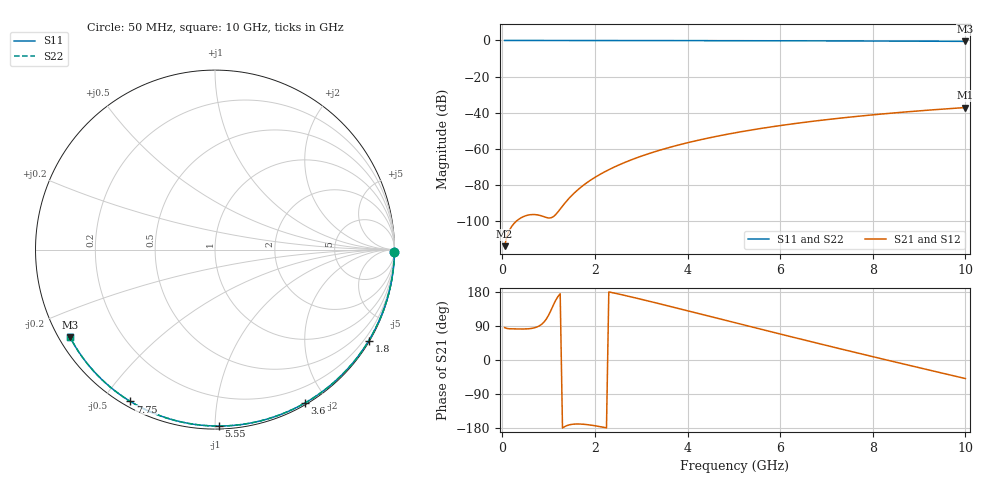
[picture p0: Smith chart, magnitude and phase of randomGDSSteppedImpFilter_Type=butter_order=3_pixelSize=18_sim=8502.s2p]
! freq	dB(S11)	phase(S11)	dB(S12)	phase(S12)
!  dB(S21)	phase(S21)	dB(S22)	phase(S22)
!S-par simulation data
#  GHz  S  DB  R 50
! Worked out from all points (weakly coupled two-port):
!   200 points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, 50 MHz to 10 GHz, reference 50 ohm
!   highest |S21| = -37.18 dB at 10 GHz (marker M1); lowest = -114.0 dB at 50 MHz (marker M2)
!   lowest |S11| = -0.5 dB at 10 GHz (marker M3), VSWR 34.44, Z = 1.56 - j13.9 ohm
!   |S11| at or under -10 dB: nowhere
!   |S22| runs from -0.5 to 0.0 dB; largest |S21 - S12| = 0
!   S11 on the Smith chart (normalised r, x): 50 MHz: open; 1.8 GHz: 0.03, -3.65; 3.6 GHz: 0.02, -1.74; 5.55 GHz: 0.02, -1.02; 7.75 GHz: 0.02, -0.59; 10 GHz: 0.03, -0.28
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0.05  -0.00 -0.9  -113.99 85.4  -113.99 85.4  -0.00 -0.9
0.45  -0.01 -7.8  -97.69 81.8  -97.69 81.8  -0.01 -7.8
0.9  -0.02 -15.5  -97.66 100.1  -97.66 100.1  -0.02 -15.5
1.3  -0.03 -22.2  -91.78 -179.5  -91.78 -179.5  -0.03 -22.2
1.75  -0.04 -29.8  -80.26 -169.5  -80.26 -169.5  -0.04 -29.8
1.8  -0.04 -30.6  -79.30 -170.1  -79.30 -170.1  -0.04 -30.6
1.95  -0.04 -33.1  -76.67 -172.5  -76.67 -172.5  -0.04 -33.1
2.1  -0.05 -35.6  -74.36 -175.5  -74.36 -175.5  -0.05 -35.6
2.3  -0.05 -38.9  -71.62 179.7  -71.62 179.7  -0.05 -38.9
2.5  -0.05 -42.1  -69.19 174.4  -69.19 174.4  -0.05 -42.1
2.9  -0.06 -48.6  -65.05 163.1  -65.05 163.1  -0.06 -48.6
3.4  -0.08 -56.5  -60.81 148.2  -60.81 148.2  -0.08 -56.5
3.6  -0.08 -59.7  -59.33 142.2  -59.33 142.2  -0.08 -59.7
4.3  -0.10 -70.4  -54.90 120.7  -54.90 120.7  -0.10 -70.4
5.05  -0.13 -81.6  -51.07 97.6  -51.07 97.6  -0.13 -81.6
5.55  -0.15 -88.8  -48.90 82.3  -48.90 82.3  -0.15 -88.8
6.1  -0.17 -96.6  -46.81 65.5  -46.81 65.5  -0.17 -96.6
6.7  -0.20 -104.9  -44.80 47.4  -44.80 47.4  -0.20 -104.9
7.75  -0.28 -119.1  -41.84 16.1  -41.84 16.1  -0.28 -119.1
8.35  -0.33 -127.1  -40.40 -1.4  -40.40 -1.4  -0.33 -127.1
9.2  -0.41 -138.3  -38.62 -26.0  -38.62 -26.0  -0.41 -138.3
10  -0.50 -148.9  -37.18 -49.0  -37.18 -49.0  -0.50 -148.9
